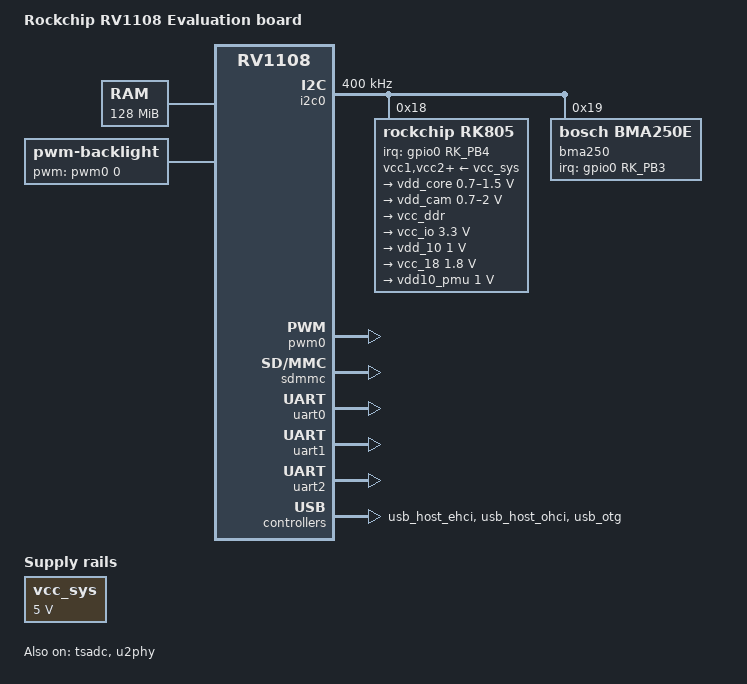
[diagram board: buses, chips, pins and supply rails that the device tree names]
// SPDX-License-Identifier: (GPL-2.0+ OR MIT)

/dts-v1/;

#include "rv1108.dtsi"

/ {
	model = "Rockchip RV1108 Evaluation board";
	compatible = "rockchip,rv1108-evb", "rockchip,rv1108";

	aliases {
		mmc0 = &sdmmc;
	};

	memory@60000000 {
		device_type = "memory";
		reg = <0x60000000 0x08000000>;
	};

	chosen {
		stdout-path = "serial2:1500000n8";
	};

	backlight: backlight {
		compatible = "pwm-backlight";
		brightness-levels = <
			  0   1   2   3   4   5   6   7
			  8   9  10  11  12  13  14  15
			 16  17  18  19  20  21  22  23
			 24  25  26  27  28  29  30  31
			 32  33  34  35  36  37  38  39
			 40  41  42  43  44  45  46  47
			 48  49  50  51  52  53  54  55
			 56  57  58  59  60  61  62  63
			 64  65  66  67  68  69  70  71
			 72  73  74  75  76  77  78  79
			 80  81  82  83  84  85  86  87
			 88  89  90  91  92  93  94  95
			 96  97  98  99 100 101 102 103
			104 105 106 107 108 109 110 111
			112 113 114 115 116 117 118 119
			120 121 122 123 124 125 126 127
			128 129 130 131 132 133 134 135
			136 137 138 139 140 141 142 143
			144 145 146 147 148 149 150 151
			152 153 154 155 156 157 158 159
			160 161 162 163 164 165 166 167
			168 169 170 171 172 173 174 175
			176 177 178 179 180 181 182 183
			184 185 186 187 188 189 190 191
			192 193 194 195 196 197 198 199
			200 201 202 203 204 205 206 207
			208 209 210 211 212 213 214 215
			216 217 218 219 220 221 222 223
			224 225 226 227 228 229 230 231
			232 233 234 235 236 237 238 239
			240 241 242 243 244 245 246 247
			248 249 250 251 252 253 254 255>;
		default-brightness-level = <200>;
		pwms = <&pwm0 0 25000 0>;
	};

	vcc_sys: vsys-regulator {
		compatible = "regulator-fixed";
		regulator-name = "vsys";
		regulator-min-microvolt = <5000000>;
		regulator-max-microvolt = <5000000>;
		regulator-boot-on;
	};
};

&cpu0 {
	cpu-supply = <&vdd_core>;
};

&i2c0 {
	status = "okay";
	i2c-scl-rising-time-ns = <275>;
	i2c-scl-falling-time-ns = <16>;
	clock-frequency = <400000>;

	rk805: pmic@18 {
		compatible = "rockchip,rk805";
		reg = <0x18>;
		interrupt-parent = <&gpio0>;
		interrupts = <RK_PB4 IRQ_TYPE_LEVEL_LOW>;
		rockchip,system-power-controller;
		#clock-cells = <0>;

		vcc1-supply = <&vcc_sys>;
		vcc2-supply = <&vcc_sys>;
		vcc3-supply = <&vcc_sys>;
		vcc4-supply = <&vcc_sys>;
		vcc5-supply = <&vcc_sys>;
		vcc6-supply = <&vcc_sys>;

		regulators {
			vdd_core: DCDC_REG1 {
				regulator-name = "vdd_core";
				regulator-min-microvolt = <700000>;
				regulator-max-microvolt = <1500000>;
				regulator-always-on;
				regulator-boot-on;
				regulator-state-mem {
					regulator-on-in-suspend;
					regulator-suspend-microvolt = <900000>;
				};
			};

			vdd_cam: DCDC_REG2 {
				regulator-name = "vdd_cam";
				regulator-min-microvolt = <700000>;
				regulator-max-microvolt = <2000000>;
				regulator-state-mem {
					regulator-off-in-suspend;
				};
			};

			vcc_ddr: DCDC_REG3 {
				regulator-name = "vcc_ddr";
				regulator-always-on;
				regulator-boot-on;
				regulator-state-mem {
					regulator-on-in-suspend;
				};
			};

			vcc_io: DCDC_REG4 {
				regulator-name = "vcc_io";
				regulator-min-microvolt = <3300000>;
				regulator-max-microvolt = <3300000>;
				regulator-always-on;
				regulator-boot-on;
				regulator-state-mem {
					regulator-on-in-suspend;
					regulator-suspend-microvolt = <3300000>;
				};
			};

			vdd_10: LDO_REG1 {
				regulator-name = "vdd_10";
				regulator-min-microvolt = <1000000>;
				regulator-max-microvolt = <1000000>;
				regulator-always-on;
				regulator-boot-on;
				regulator-state-mem {
					regulator-off-in-suspend;
				};
			};

			vcc_18: LDO_REG2 {
				regulator-name = "vcc_18";
				regulator-min-microvolt = <1800000>;
				regulator-max-microvolt = <1800000>;
				regulator-always-on;
				regulator-boot-on;
				regulator-state-mem {
					regulator-off-in-suspend;
				};
			};

			vdd10_pmu: LDO_REG3 {
				regulator-name = "vdd10_pmu";
				regulator-min-microvolt = <1000000>;
				regulator-max-microvolt = <1000000>;
				regulator-always-on;
				regulator-boot-on;
				regulator-state-mem {
					regulator-on-in-suspend;
					regulator-suspend-microvolt = <1000000>;
				};
			};
		};
	};

	bma250: accelerometer@19 {
		compatible = "bosch,bma250e";
		reg = <0x19>;
		interrupt-parent = <&gpio0>;
		interrupts = <RK_PB3 IRQ_TYPE_LEVEL_LOW>;
	};
};

&pwm0 {
	status = "okay";
};

&sdmmc {
	status = "okay";
};

&tsadc {
	status = "okay";
};

&u2phy {
	status = "okay";

	u2phy_host: host-port {
		status = "okay";
	};

	u2phy_otg: otg-port {
		status = "okay";
	};
};

&uart0 {
	status = "okay";
};

&uart1 {
	status = "okay";
};

&uart2 {
	status = "okay";
};

&usb_host_ehci {
	status = "okay";
};

&usb_host_ohci {
	status = "okay";
};

&usb_otg {
	status = "okay";
};
